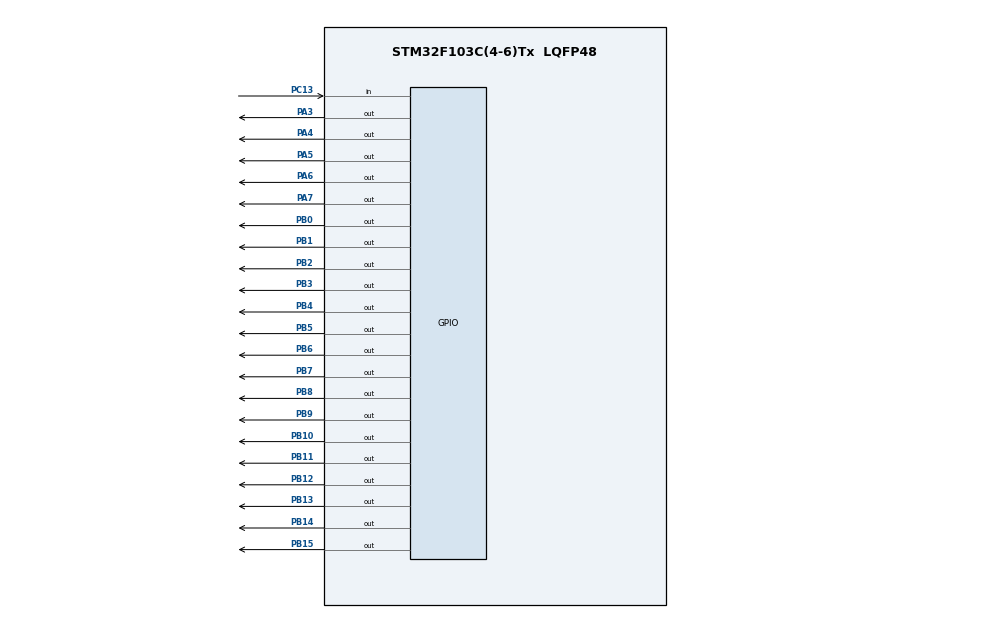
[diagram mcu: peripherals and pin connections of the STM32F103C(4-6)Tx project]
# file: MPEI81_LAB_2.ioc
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Mcu.Family=STM32F1
Mcu.Name=STM32F103C(4-6)Tx
Mcu.Package=LQFP48
NVIC.PriorityGroup=NVIC_PRIORITYGROUP_4
PA3.Signal=GPIO_Output
PA4.Signal=GPIO_Output
PA5.Signal=GPIO_Output
PA6.Signal=GPIO_Output
PA7.Signal=GPIO_Output
PB0.Signal=GPIO_Output
PB1.Signal=GPIO_Output
PB10.Signal=GPIO_Output
PB11.Signal=GPIO_Output
PB12.Signal=GPIO_Output
PB13.Signal=GPIO_Output
PB14.Signal=GPIO_Output
PB15.Signal=GPIO_Output
PB2.Signal=GPIO_Output
PB3.Signal=GPIO_Output
PB4.Signal=GPIO_Output
PB5.Signal=GPIO_Output
PB6.Signal=GPIO_Output
PB7.Signal=GPIO_Output
PB8.Signal=GPIO_Output
PB9.Signal=GPIO_Output
PC13-TAMPER-RTC.Signal=GPIO_Input
ProjectManager.HeapSize=0x200
ProjectManager.StackSize=0x400
ProjectManager.TargetToolchain=STM32CubeIDE
RCC.APB1Freq_Value=8000000
RCC.APB2Freq_Value=8000000
VP_SYS_VS_ND.Mode=No_Debug
board=custom

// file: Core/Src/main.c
/* USER CODE BEGIN Header */
/**
  ******************************************************************************
  * @file           : main.c
  * @brief          : Main program body
  ******************************************************************************
  * @attention
  *
  * Copyright (c) 2026 STMicroelectronics.
  * All rights reserved.
  *
  * This software is licensed under terms that can be found in the LICENSE file
  * in the root directory of this software component.
  * If no LICENSE file comes with this software, it is provided AS-IS.
  *
  ******************************************************************************
  */
/* USER CODE END Header */
#include "main.h"

/* USER CODE BEGIN Includes */
#include <math.h>
#include <string.h>
/* USER CODE END Includes */

/* USER CODE BEGIN PV */
int letras[28];
int numeroDisplays = 6;
int displayEncendido = 0;
char nombre1[] = "ANA CAROLINA CARRILLO LOMBANA ";
char nombre2[] = "MARIA JULIANA NIETO MORENO    ";
char nombre3[] = "LAURA ALEJANDRA PARADA GAMBOA ";

char *salidaNombre;

int estudiante = 0;
int longitud = 0;
int token = 0;

GPIO_PinState LastButtonState = GPIO_PIN_SET;
/* USER CODE END PV */

void SystemClock_Config(void);
static void MX_GPIO_Init(void);
/* USER CODE BEGIN PFP */
void definirLetras(void); //Define las letras en el vector
int getLetra(char letra);
int secuenciarTransitores(void);
/* USER CODE END PFP */

int main(void)
{

  /* MCU Configuration--------------------------------------------------------*/

  /* Reset of all peripherals, Initializes the Flash interface and the Systick. */
  HAL_Init();

  /* USER CODE BEGIN Init */
    int displayActual = 0;
    int numRepe = 50;
    int aux = 0;
  /* USER CODE END Init */

  /* Configure the system clock */
  SystemClock_Config();

  /* Initialize all configured peripherals */
  MX_GPIO_Init();
  /* USER CODE BEGIN 2 */
  definirLetras();
  displayEncendido = pow(2, numeroDisplays);

  salidaNombre = nombre1;
  longitud = strlen(salidaNombre);
  /* USER CODE END 2 */

  /* Infinite loop */
  while (1)
  {

    /* USER CODE BEGIN 3 */
		  GPIO_PinState buttonState = HAL_GPIO_ReadPin(GPIOC, GPIO_PIN_13);

		  if(buttonState == GPIO_PIN_RESET && LastButtonState == GPIO_PIN_SET){
		  	  HAL_Delay(20);

		  	  if(HAL_GPIO_ReadPin(GPIOC, GPIO_PIN_13) == GPIO_PIN_RESET){
		  		  estudiante++;

		  		  if(estudiante > 2){
		  			  estudiante = 0;
		  		  }

		  		  if(estudiante == 0){
		  			salidaNombre = nombre1;
		  		  }

		  		  else if(estudiante == 1){
		  			salidaNombre = nombre2;
		  		  }

		  		  else if(estudiante == 2){
		  			salidaNombre = nombre3;
		  		  }

		  		  token = 0;
		  		  aux = 0;
		  		  longitud = strlen(salidaNombre);
		  	  }
		  }

		  LastButtonState = buttonState;

		  if(aux < numRepe){
			  aux++;
	  	  }

		  else{
			  aux=0;
			  if(token < longitud){
				  token++;
			  }

			  else{
		  			  token = 0;
		  		  }
		  	}

		  switch (displayActual) {
		        case 5:
		        	GPIOB->ODR = ~getLetra(salidaNombre[(token + 0) % longitud]);
		        break;
		        case 4:
		        	GPIOB->ODR = ~getLetra(salidaNombre[(token + 1) % longitud]);
		        break;
		        case 3:
		        	GPIOB->ODR = ~getLetra(salidaNombre[(token + 2) % longitud]);
		        break;
		        case 2:
		        	GPIOB->ODR = ~getLetra(salidaNombre[(token + 3) % longitud]);
		        break;
		        case 1:
		        	GPIOB->ODR = ~getLetra(salidaNombre[(token + 4) % longitud]);
		        break;
		        case 0:
		        	GPIOB->ODR = ~getLetra(salidaNombre[(token + 5) % longitud]);
		        break;
		        default:
		        	GPIOB->ODR = 0xFFFF;
		      }

		  HAL_Delay(1);

		  GPIOA->ODR = 0x00;
		  GPIOB->ODR = 0xFFFF;

		  HAL_Delay(1);

		  GPIOA->ODR = secuenciarTransitores() << 2;

		  displayActual++;
		  if(displayActual >= numeroDisplays){
			  displayActual=0;
		  }

	  }
  /* USER CODE END 3 */
}

void SystemClock_Config(void)
{
  RCC_OscInitTypeDef RCC_OscInitStruct = {0};
  RCC_ClkInitTypeDef RCC_ClkInitStruct = {0};

  /** Initializes the RCC Oscillators according to the specified parameters
  * in the RCC_OscInitTypeDef structure.
  */
  RCC_OscInitStruct.OscillatorType = RCC_OSCILLATORTYPE_HSI;
  RCC_OscInitStruct.HSIState = RCC_HSI_ON;
  RCC_OscInitStruct.HSICalibrationValue = RCC_HSICALIBRATION_DEFAULT;
  RCC_OscInitStruct.PLL.PLLState = RCC_PLL_NONE;
  if (HAL_RCC_OscConfig(&RCC_OscInitStruct) != HAL_OK)
  {
    Error_Handler();
  }

  /** Initializes the CPU, AHB and APB buses clocks
  */
  RCC_ClkInitStruct.ClockType = RCC_CLOCKTYPE_HCLK|RCC_CLOCKTYPE_SYSCLK
                              |RCC_CLOCKTYPE_PCLK1|RCC_CLOCKTYPE_PCLK2;
  RCC_ClkInitStruct.SYSCLKSource = RCC_SYSCLKSOURCE_HSI;
  RCC_ClkInitStruct.AHBCLKDivider = RCC_SYSCLK_DIV1;
  RCC_ClkInitStruct.APB1CLKDivider = RCC_HCLK_DIV1;
  RCC_ClkInitStruct.APB2CLKDivider = RCC_HCLK_DIV1;

  if (HAL_RCC_ClockConfig(&RCC_ClkInitStruct, FLASH_LATENCY_0) != HAL_OK)
  {
    Error_Handler();
  }
}

static void MX_GPIO_Init(void)
{
  GPIO_InitTypeDef GPIO_InitStruct = {0};

  /* GPIO Ports Clock Enable */
  __HAL_RCC_GPIOC_CLK_ENABLE();
  __HAL_RCC_GPIOA_CLK_ENABLE();
  __HAL_RCC_GPIOB_CLK_ENABLE();

  /*Configure GPIO pin Output Level */
  HAL_GPIO_WritePin(GPIOA, GPIO_PIN_3|GPIO_PIN_4|GPIO_PIN_5|GPIO_PIN_6
                          |GPIO_PIN_7, GPIO_PIN_RESET);

  /*Configure GPIO pin Output Level */
  HAL_GPIO_WritePin(GPIOB, GPIO_PIN_0|GPIO_PIN_1|GPIO_PIN_2|GPIO_PIN_10
                          |GPIO_PIN_11|GPIO_PIN_12|GPIO_PIN_13|GPIO_PIN_14
                          |GPIO_PIN_15|GPIO_PIN_3|GPIO_PIN_4|GPIO_PIN_5
                          |GPIO_PIN_6|GPIO_PIN_7|GPIO_PIN_8|GPIO_PIN_9, GPIO_PIN_RESET);

  /*Configure GPIO pin : PC13 */
  GPIO_InitStruct.Pin = GPIO_PIN_13;
  GPIO_InitStruct.Mode = GPIO_MODE_INPUT;
  GPIO_InitStruct.Pull = GPIO_NOPULL;
  HAL_GPIO_Init(GPIOC, &GPIO_InitStruct);

  /*Configure GPIO pins : PA3 PA4 PA5 PA6
                           PA7 */
  GPIO_InitStruct.Pin = GPIO_PIN_3|GPIO_PIN_4|GPIO_PIN_5|GPIO_PIN_6
                          |GPIO_PIN_7;
  GPIO_InitStruct.Mode = GPIO_MODE_OUTPUT_PP;
  GPIO_InitStruct.Pull = GPIO_NOPULL;
  GPIO_InitStruct.Speed = GPIO_SPEED_FREQ_LOW;
  HAL_GPIO_Init(GPIOA, &GPIO_InitStruct);

  /*Configure GPIO pins : PB0 PB1 PB2 PB10
                           PB11 PB12 PB13 PB14
                           PB15 PB3 PB4 PB5
                           PB6 PB7 PB8 PB9 */
  GPIO_InitStruct.Pin = GPIO_PIN_0|GPIO_PIN_1|GPIO_PIN_2|GPIO_PIN_10
                          |GPIO_PIN_11|GPIO_PIN_12|GPIO_PIN_13|GPIO_PIN_14
                          |GPIO_PIN_15|GPIO_PIN_3|GPIO_PIN_4|GPIO_PIN_5
                          |GPIO_PIN_6|GPIO_PIN_7|GPIO_PIN_8|GPIO_PIN_9;
  GPIO_InitStruct.Mode = GPIO_MODE_OUTPUT_PP;
  GPIO_InitStruct.Pull = GPIO_NOPULL;
  GPIO_InitStruct.Speed = GPIO_SPEED_FREQ_LOW;
  HAL_GPIO_Init(GPIOB, &GPIO_InitStruct);

}

/* USER CODE BEGIN 4 */
void definirLetras(void) {
	  letras[0]  = 35023;
	  letras[1]  = 10815;
	  letras[2]  = 243;
	  letras[3]  = 8767;
	  letras[4]  = 35059;
	  letras[5]  = 35011;
	  letras[6]  = 2299;
	  letras[7]  = 35020;
	  letras[8]  = 8755;
	  letras[9]  = 124;
	  letras[10] = 38080;
	  letras[11] = 240;
	  letras[12] = 1484;
	  letras[13] = 4556;
	  letras[14] = 255;
	  letras[15] = 35015;
	  letras[16] = 16639;
	  letras[17] = 39111;
	  letras[18] = 35003;
	  letras[19] = 8707;
	  letras[20] = 252;
	  letras[21] = 17600;
	  letras[22] = 20684;
	  letras[23] = 21760;
	  letras[24] = 9472;
	  letras[25] = 17459;
}

int getLetra(char letra){
    if(letra >= 'A' && letra <= 'Z'){
        return letras[(int)(letra - 'A')];
    } else {
        return 0; // Espacio o carácter inválido
    }
}

int secuenciarTransitores(){
	if(displayEncendido == 1) displayEncendido = pow(2, numeroDisplays);
	displayEncendido =  displayEncendido >> 1;
	return displayEncendido;
}

/* USER CODE END 4 */

void Error_Handler(void)
{
  __disable_irq();
  while (1)
  {
  }
}
